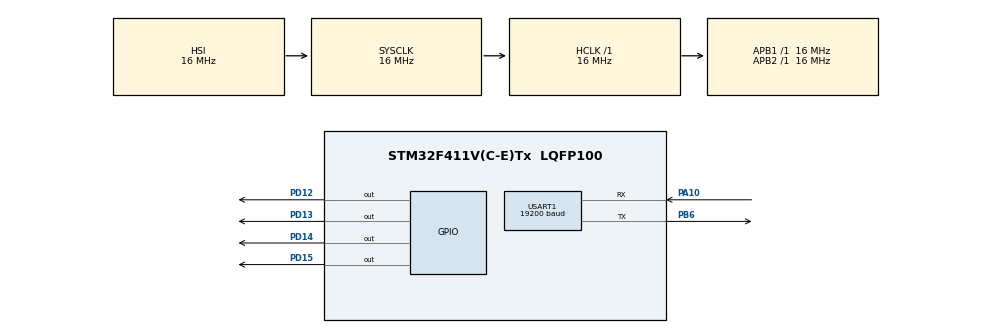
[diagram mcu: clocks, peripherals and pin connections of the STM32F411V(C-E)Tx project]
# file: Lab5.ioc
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Mcu.Family=STM32F4
Mcu.Name=STM32F411V(C-E)Tx
Mcu.Package=LQFP100
NVIC.PriorityGroup=NVIC_PRIORITYGROUP_4
PA10.Mode=Asynchronous
PA10.Signal=USART1_RX
PB6.Mode=Asynchronous
PB6.Signal=USART1_TX
PD12.Signal=GPIO_Output
PD13.Signal=GPIO_Output
PD14.Signal=GPIO_Output
PD15.Signal=GPIO_Output
ProjectManager.HeapSize=0x200
ProjectManager.StackSize=0x400
ProjectManager.TargetToolchain=STM32CubeIDE
RCC.AHBFreq_Value=16000000
RCC.APB1Freq_Value=16000000
RCC.APB2Freq_Value=16000000
RCC.CortexFreq_Value=16000000
RCC.HSE_VALUE=25000000
RCC.HSI_VALUE=16000000
RCC.LSE_VALUE=32768
RCC.SYSCLKFreq_VALUE=16000000
RCC.VCOOutputFreq_Value=192000000
USART1.BaudRate=19200
USART1.VirtualMode=VM_ASYNC
board=custom

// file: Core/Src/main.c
/* USER CODE BEGIN Header */
/**
  ******************************************************************************
  * @file           : main.c
  * @brief          : Main program body
  ******************************************************************************
  * @attention
  *
  * Copyright (c) 2023 STMicroelectronics.
  * All rights reserved.
  *
  * This software is licensed under terms that can be found in the LICENSE file
  * in the root directory of this software component.
  * If no LICENSE file comes with this software, it is provided AS-IS.
  *
  ******************************************************************************
  */
/* USER CODE END Header */
#include "main.h"

UART_HandleTypeDef huart1;

void SystemClock_Config(void);
static void MX_GPIO_Init(void);
static void MX_USART1_UART_Init(void);

int main(void)
{

  /* MCU Configuration--------------------------------------------------------*/

  /* Reset of all peripherals, Initializes the Flash interface and the Systick. */
  HAL_Init();

  /* Configure the system clock */
  SystemClock_Config();

  /* Initialize all configured peripherals */
  MX_GPIO_Init();
  MX_USART1_UART_Init();

  /* Infinite loop */
  /* USER CODE BEGIN WHILE */
  while (1)
  {
	  uint8_t rcvBuf[1];
	  HAL_StatusTypeDef result;

	  result = HAL_UART_Receive(&huart1, rcvBuf, 1, 100);

	  if (result == HAL_OK) {
		  switch(rcvBuf[0]) {
			  case 'q':
				  HAL_GPIO_WritePin(GPIOD, GPIO_PIN_12, GPIO_PIN_SET);
				  HAL_UART_Transmit(&huart1, (uint8_t *)" - green led on\n\r", 16, 100);
				  break;
			  case 'w':
				  HAL_GPIO_WritePin(GPIOD, GPIO_PIN_12, GPIO_PIN_RESET);
				  HAL_UART_Transmit(&huart1, (uint8_t *)" -green led off\n\r", 17, 100);
				  break;
			  case 'e':
				  HAL_GPIO_WritePin(GPIOD, GPIO_PIN_13, GPIO_PIN_SET);
				  HAL_UART_Transmit(&huart1, (uint8_t *)" -orange led on\n\r", 17, 100);
				  break;
			  case 'r':
				  HAL_GPIO_WritePin(GPIOD, GPIO_PIN_13, GPIO_PIN_RESET);
				  HAL_UART_Transmit(&huart1, (uint8_t *)" -orange led off\n\r", 18, 100);
				  break;
			  case 't':
				  HAL_GPIO_WritePin(GPIOD, GPIO_PIN_14, GPIO_PIN_SET);
				  HAL_UART_Transmit(&huart1, (uint8_t *)" -red led on\n\r", 14, 100);
				  break;
			  case 'y':
				  HAL_GPIO_WritePin(GPIOD, GPIO_PIN_14, GPIO_PIN_RESET);
				  HAL_UART_Transmit(&huart1, (uint8_t *)" -red led off\n\r", 15, 100);
				  break;
			  case 'u':
				  HAL_GPIO_WritePin(GPIOD, GPIO_PIN_15, GPIO_PIN_SET);
				  HAL_UART_Transmit(&huart1, (uint8_t *)" -blue led on\n\r", 15, 100);
				  break;
			  case 'i':
				  HAL_GPIO_WritePin(GPIOD, GPIO_PIN_15, GPIO_PIN_RESET);
				  HAL_UART_Transmit(&huart1, (uint8_t *)" -blue led off\n\r", 16, 100);
				  break;
			  case 'o':
				  HAL_GPIO_WritePin(GPIOD, GPIO_PIN_12|GPIO_PIN_13|GPIO_PIN_14|GPIO_PIN_15, GPIO_PIN_SET);
				  HAL_UART_Transmit(&huart1, (uint8_t *)" -all leds on\n\r", 14, 100);
				  break;
			  case 'p':
				  HAL_GPIO_WritePin(GPIOD, GPIO_PIN_12|GPIO_PIN_13|GPIO_PIN_14|GPIO_PIN_15, GPIO_PIN_RESET);
				  HAL_UART_Transmit(&huart1, (uint8_t *)" -all leds off\n\r", 15, 100);
				  break;

			  default:
				  HAL_UART_Transmit(&huart1, (uint8_t *)" -unexpected command\n\r", 26, 100);
				  break;

		  }
	  }
    /* USER CODE END WHILE */

  }
}

void SystemClock_Config(void)
{
  RCC_OscInitTypeDef RCC_OscInitStruct = {0};
  RCC_ClkInitTypeDef RCC_ClkInitStruct = {0};

  /** Configure the main internal regulator output voltage
  */
  __HAL_RCC_PWR_CLK_ENABLE();
  __HAL_PWR_VOLTAGESCALING_CONFIG(PWR_REGULATOR_VOLTAGE_SCALE1);

  /** Initializes the RCC Oscillators according to the specified parameters
  * in the RCC_OscInitTypeDef structure.
  */
  RCC_OscInitStruct.OscillatorType = RCC_OSCILLATORTYPE_HSI;
  RCC_OscInitStruct.HSIState = RCC_HSI_ON;
  RCC_OscInitStruct.HSICalibrationValue = RCC_HSICALIBRATION_DEFAULT;
  RCC_OscInitStruct.PLL.PLLState = RCC_PLL_NONE;
  if (HAL_RCC_OscConfig(&RCC_OscInitStruct) != HAL_OK)
  {
    Error_Handler();
  }

  /** Initializes the CPU, AHB and APB buses clocks
  */
  RCC_ClkInitStruct.ClockType = RCC_CLOCKTYPE_HCLK|RCC_CLOCKTYPE_SYSCLK
                              |RCC_CLOCKTYPE_PCLK1|RCC_CLOCKTYPE_PCLK2;
  RCC_ClkInitStruct.SYSCLKSource = RCC_SYSCLKSOURCE_HSI;
  RCC_ClkInitStruct.AHBCLKDivider = RCC_SYSCLK_DIV1;
  RCC_ClkInitStruct.APB1CLKDivider = RCC_HCLK_DIV1;
  RCC_ClkInitStruct.APB2CLKDivider = RCC_HCLK_DIV1;

  if (HAL_RCC_ClockConfig(&RCC_ClkInitStruct, FLASH_LATENCY_0) != HAL_OK)
  {
    Error_Handler();
  }
}

static void MX_USART1_UART_Init(void)
{

  huart1.Instance = USART1;
  huart1.Init.BaudRate = 19200;
  huart1.Init.WordLength = UART_WORDLENGTH_8B;
  huart1.Init.StopBits = UART_STOPBITS_1;
  huart1.Init.Parity = UART_PARITY_NONE;
  huart1.Init.Mode = UART_MODE_TX_RX;
  huart1.Init.HwFlowCtl = UART_HWCONTROL_NONE;
  huart1.Init.OverSampling = UART_OVERSAMPLING_16;
  if (HAL_UART_Init(&huart1) != HAL_OK)
  {
    Error_Handler();
  }

}

static void MX_GPIO_Init(void)
{
  GPIO_InitTypeDef GPIO_InitStruct = {0};

  /* GPIO Ports Clock Enable */
  __HAL_RCC_GPIOD_CLK_ENABLE();
  __HAL_RCC_GPIOA_CLK_ENABLE();
  __HAL_RCC_GPIOB_CLK_ENABLE();

  /*Configure GPIO pin Output Level */
  HAL_GPIO_WritePin(GPIOD, GPIO_PIN_12|GPIO_PIN_13|GPIO_PIN_14|GPIO_PIN_15, GPIO_PIN_RESET);

  /*Configure GPIO pins : PD12 PD13 PD14 PD15 */
  GPIO_InitStruct.Pin = GPIO_PIN_12|GPIO_PIN_13|GPIO_PIN_14|GPIO_PIN_15;
  GPIO_InitStruct.Mode = GPIO_MODE_OUTPUT_PP;
  GPIO_InitStruct.Pull = GPIO_NOPULL;
  GPIO_InitStruct.Speed = GPIO_SPEED_FREQ_LOW;
  HAL_GPIO_Init(GPIOD, &GPIO_InitStruct);

}

void Error_Handler(void)
{
  __disable_irq();
  while (1)
  {
  }
}
